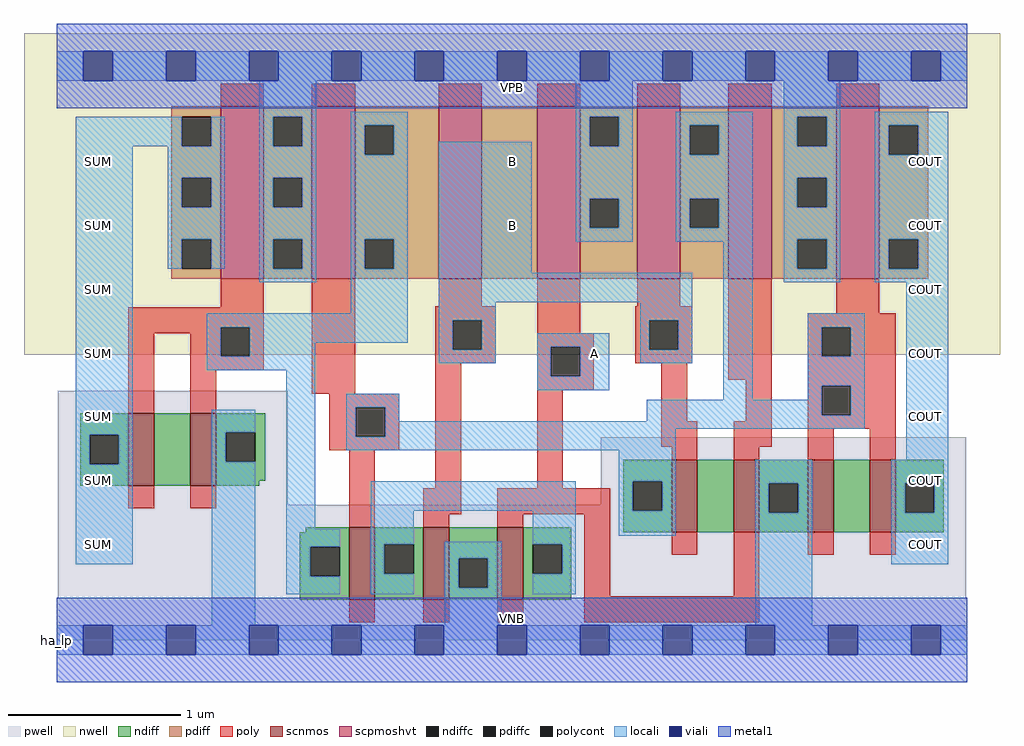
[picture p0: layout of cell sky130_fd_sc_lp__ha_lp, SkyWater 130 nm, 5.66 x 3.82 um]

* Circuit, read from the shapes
.subckt sky130_fd_sc_lp__ha_lp A B VGND VNB VPB VPWR COUT SUM
XM1 n1 n2 SUM VNB sky130_fd_pr__nfet_01v8 w=0.42 l=0.15
XM2 VGND n2 n1 VNB sky130_fd_pr__nfet_01v8 w=0.42 l=0.15
XM3 n3 n4 n2 VNB sky130_fd_pr__nfet_01v8 w=0.42 l=0.15
XM4 VGND B n3 VNB sky130_fd_pr__nfet_01v8 w=0.42 l=0.15
XM5 n3 A VGND VNB sky130_fd_pr__nfet_01v8 w=0.42 l=0.15
XM6 n5 B n4 VNB sky130_fd_pr__nfet_01v8 w=0.42 l=0.15
XM7 VGND A n5 VNB sky130_fd_pr__nfet_01v8 w=0.42 l=0.15
XM8 n6 n4 VGND VNB sky130_fd_pr__nfet_01v8 w=0.42 l=0.15
XM9 COUT n4 n6 VNB sky130_fd_pr__nfet_01v8 w=0.42 l=0.15
XM10 VPWR n2 SUM VPB sky130_fd_pr__pfet_01v8_hvt w=1 l=0.25
XM11 n2 n4 VPWR VPB sky130_fd_pr__pfet_01v8_hvt w=1 l=0.25
XM12 n7 B n2 VPB sky130_fd_pr__pfet_01v8_hvt w=1 l=0.25
XM13 VPWR A n7 VPB sky130_fd_pr__pfet_01v8_hvt w=1 l=0.25
XM14 n4 B VPWR VPB sky130_fd_pr__pfet_01v8_hvt w=1 l=0.25
XM15 VPWR A n4 VPB sky130_fd_pr__pfet_01v8_hvt w=1 l=0.25
XM16 COUT n4 VPWR VPB sky130_fd_pr__pfet_01v8_hvt w=1 l=0.25
.ends

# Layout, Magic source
magic
tech sky130A
magscale 1 2
<< nwell >>
rect -38 331 1094 704
<< pwell >>
rect 1 157 268 289
rect 631 157 1055 235
rect 1 49 1055 157
rect 0 0 1056 49
<< scnmos >>
rect 83 179 113 263
rect 155 179 185 263
rect 339 47 369 131
rect 425 47 455 131
rect 511 47 541 131
rect 713 125 743 209
rect 785 125 815 209
rect 871 125 901 209
rect 943 125 973 209
<< scpmoshvt >>
rect 190 419 240 619
rect 296 419 346 619
rect 443 419 493 619
rect 557 419 607 619
rect 673 419 723 619
rect 779 419 829 619
rect 904 419 954 619
<< ndiff >>
rect 27 238 83 263
rect 27 204 38 238
rect 72 204 83 238
rect 27 179 83 204
rect 113 179 155 263
rect 185 241 242 263
rect 185 207 196 241
rect 230 207 242 241
rect 185 185 242 207
rect 185 179 235 185
rect 657 184 713 209
rect 289 125 339 131
rect 282 108 339 125
rect 282 74 294 108
rect 328 74 339 108
rect 282 47 339 74
rect 369 111 425 131
rect 369 77 380 111
rect 414 77 425 111
rect 369 47 425 77
rect 455 95 511 131
rect 455 61 466 95
rect 500 61 511 95
rect 455 47 511 61
rect 541 111 597 131
rect 541 77 552 111
rect 586 77 597 111
rect 541 47 597 77
rect 657 150 668 184
rect 702 150 713 184
rect 657 125 713 150
rect 743 125 785 209
rect 815 182 871 209
rect 815 148 826 182
rect 860 148 871 182
rect 815 125 871 148
rect 901 125 943 209
rect 973 182 1029 209
rect 973 148 984 182
rect 1018 148 1029 182
rect 973 125 1029 148
<< pdiff >>
rect 133 607 190 619
rect 133 573 145 607
rect 179 573 190 607
rect 133 536 190 573
rect 133 502 145 536
rect 179 502 190 536
rect 133 465 190 502
rect 133 431 145 465
rect 179 431 190 465
rect 133 419 190 431
rect 240 607 296 619
rect 240 573 251 607
rect 285 573 296 607
rect 240 536 296 573
rect 240 502 251 536
rect 285 502 296 536
rect 240 465 296 502
rect 240 431 251 465
rect 285 431 296 465
rect 240 419 296 431
rect 346 597 443 619
rect 346 563 357 597
rect 391 563 443 597
rect 346 465 443 563
rect 346 431 357 465
rect 391 431 443 465
rect 346 419 443 431
rect 493 419 557 619
rect 607 607 673 619
rect 607 573 618 607
rect 652 573 673 607
rect 607 512 673 573
rect 607 478 618 512
rect 652 478 673 512
rect 607 419 673 478
rect 723 597 779 619
rect 723 563 734 597
rect 768 563 779 597
rect 723 512 779 563
rect 723 478 734 512
rect 768 478 779 512
rect 723 419 779 478
rect 829 607 904 619
rect 829 573 859 607
rect 893 573 904 607
rect 829 536 904 573
rect 829 502 859 536
rect 893 502 904 536
rect 829 465 904 502
rect 829 431 859 465
rect 893 431 904 465
rect 829 419 904 431
rect 954 597 1011 619
rect 954 563 965 597
rect 999 563 1011 597
rect 954 465 1011 563
rect 954 431 965 465
rect 999 431 1011 465
rect 954 419 1011 431
<< ndiffc >>
rect 38 204 72 238
rect 196 207 230 241
rect 294 74 328 108
rect 380 77 414 111
rect 466 61 500 95
rect 552 77 586 111
rect 668 150 702 184
rect 826 148 860 182
rect 984 148 1018 182
<< pdiffc >>
rect 145 573 179 607
rect 145 502 179 536
rect 145 431 179 465
rect 251 573 285 607
rect 251 502 285 536
rect 251 431 285 465
rect 357 563 391 597
rect 357 431 391 465
rect 618 573 652 607
rect 618 478 652 512
rect 734 563 768 597
rect 734 478 768 512
rect 859 573 893 607
rect 859 502 893 536
rect 859 431 893 465
rect 965 563 999 597
rect 965 431 999 465
<< poly >>
rect 190 619 240 645
rect 296 619 346 645
rect 443 619 493 645
rect 557 619 607 645
rect 673 619 723 645
rect 779 619 829 645
rect 904 619 954 645
rect 190 386 240 419
rect 83 363 240 386
rect 83 356 190 363
rect 83 263 113 356
rect 155 329 190 356
rect 224 329 240 363
rect 155 313 240 329
rect 155 263 185 313
rect 296 286 346 419
rect 443 387 493 419
rect 439 371 509 387
rect 439 337 459 371
rect 493 337 509 371
rect 439 321 509 337
rect 557 356 607 419
rect 673 387 723 419
rect 671 371 737 387
rect 557 340 623 356
rect 316 270 397 286
rect 316 236 347 270
rect 381 236 397 270
rect 316 220 397 236
rect 83 153 113 179
rect 155 153 185 179
rect 339 131 369 220
rect 439 176 469 321
rect 557 306 573 340
rect 607 306 623 340
rect 671 337 687 371
rect 721 337 737 371
rect 671 321 737 337
rect 557 290 623 306
rect 557 176 587 290
rect 701 254 731 321
rect 779 302 829 419
rect 904 379 954 419
rect 799 254 829 302
rect 701 224 743 254
rect 713 209 743 224
rect 785 224 829 254
rect 871 363 973 379
rect 871 329 887 363
rect 921 329 973 363
rect 871 295 973 329
rect 871 261 887 295
rect 921 261 973 295
rect 871 245 973 261
rect 785 209 815 224
rect 871 209 901 245
rect 943 209 973 245
rect 425 146 469 176
rect 511 146 642 176
rect 425 131 455 146
rect 511 131 541 146
rect 612 51 642 146
rect 713 99 743 125
rect 785 51 815 125
rect 871 99 901 125
rect 943 99 973 125
rect 339 21 369 47
rect 425 21 455 47
rect 511 21 541 47
rect 612 21 815 51
<< polycont >>
rect 190 329 224 363
rect 459 337 493 371
rect 347 236 381 270
rect 573 306 607 340
rect 687 337 721 371
rect 887 329 921 363
rect 887 261 921 295
<< locali >>
rect 0 649 31 683
rect 65 649 127 683
rect 161 649 223 683
rect 257 649 319 683
rect 353 649 415 683
rect 449 649 511 683
rect 545 649 607 683
rect 641 649 703 683
rect 737 649 799 683
rect 833 649 895 683
rect 929 649 991 683
rect 1025 649 1056 683
rect 235 607 301 649
rect 22 573 145 607
rect 179 573 195 607
rect 22 238 88 573
rect 129 536 195 573
rect 129 502 145 536
rect 179 502 195 536
rect 129 465 195 502
rect 129 431 145 465
rect 179 431 195 465
rect 235 573 251 607
rect 285 573 301 607
rect 235 536 301 573
rect 235 502 251 536
rect 285 502 301 536
rect 235 465 301 502
rect 235 431 251 465
rect 285 431 301 465
rect 235 415 301 431
rect 341 597 407 613
rect 341 563 357 597
rect 391 563 407 597
rect 602 607 668 649
rect 341 465 407 563
rect 341 431 357 465
rect 391 431 407 465
rect 341 379 407 431
rect 174 363 407 379
rect 174 329 190 363
rect 224 345 407 363
rect 443 426 551 578
rect 602 573 618 607
rect 652 573 668 607
rect 602 512 668 573
rect 602 478 618 512
rect 652 478 668 512
rect 602 462 668 478
rect 718 597 807 613
rect 718 563 734 597
rect 768 563 807 597
rect 718 512 807 563
rect 718 478 734 512
rect 768 478 807 512
rect 718 462 807 478
rect 443 392 737 426
rect 443 371 509 392
rect 224 329 300 345
rect 174 313 300 329
rect 443 337 459 371
rect 493 337 509 371
rect 677 371 737 392
rect 443 321 509 337
rect 557 340 641 356
rect 22 204 38 238
rect 72 204 88 238
rect 22 88 88 204
rect 180 241 230 267
rect 180 207 196 241
rect 180 17 230 207
rect 266 129 300 313
rect 557 306 573 340
rect 607 306 641 340
rect 677 337 687 371
rect 721 337 737 371
rect 677 321 737 337
rect 557 290 641 306
rect 336 270 397 286
rect 773 279 807 462
rect 843 607 909 649
rect 843 573 859 607
rect 893 573 909 607
rect 843 536 909 573
rect 843 502 859 536
rect 893 502 909 536
rect 843 465 909 502
rect 843 431 859 465
rect 893 431 909 465
rect 843 415 909 431
rect 949 597 1034 613
rect 949 563 965 597
rect 999 563 1034 597
rect 949 465 1034 563
rect 949 431 965 465
rect 999 431 1034 465
rect 949 415 1034 431
rect 871 363 937 379
rect 871 329 887 363
rect 921 329 937 363
rect 871 295 937 329
rect 871 279 887 295
rect 336 236 347 270
rect 381 254 397 270
rect 684 261 887 279
rect 921 261 937 295
rect 684 254 937 261
rect 381 245 937 254
rect 381 236 718 245
rect 336 220 718 236
rect 652 184 718 220
rect 985 209 1034 415
rect 364 150 602 184
rect 266 108 328 129
rect 266 74 294 108
rect 266 53 328 74
rect 364 111 414 150
rect 364 77 380 111
rect 364 53 414 77
rect 450 95 516 114
rect 450 61 466 95
rect 500 61 516 95
rect 450 17 516 61
rect 552 111 602 150
rect 652 150 668 184
rect 702 150 718 184
rect 652 121 718 150
rect 810 182 876 209
rect 810 148 826 182
rect 860 148 876 182
rect 586 77 602 111
rect 552 53 602 77
rect 810 17 876 148
rect 968 182 1034 209
rect 968 148 984 182
rect 1018 148 1034 182
rect 968 88 1034 148
rect 0 -17 31 17
rect 65 -17 127 17
rect 161 -17 223 17
rect 257 -17 319 17
rect 353 -17 415 17
rect 449 -17 511 17
rect 545 -17 607 17
rect 641 -17 703 17
rect 737 -17 799 17
rect 833 -17 895 17
rect 929 -17 991 17
rect 1025 -17 1056 17
<< viali >>
rect 31 649 65 683
rect 127 649 161 683
rect 223 649 257 683
rect 319 649 353 683
rect 415 649 449 683
rect 511 649 545 683
rect 607 649 641 683
rect 703 649 737 683
rect 799 649 833 683
rect 895 649 929 683
rect 991 649 1025 683
rect 31 -17 65 17
rect 127 -17 161 17
rect 223 -17 257 17
rect 319 -17 353 17
rect 415 -17 449 17
rect 511 -17 545 17
rect 607 -17 641 17
rect 703 -17 737 17
rect 799 -17 833 17
rect 895 -17 929 17
rect 991 -17 1025 17
<< metal1 >>
rect 0 683 1056 715
rect 0 649 31 683
rect 65 649 127 683
rect 161 649 223 683
rect 257 649 319 683
rect 353 649 415 683
rect 449 649 511 683
rect 545 649 607 683
rect 641 649 703 683
rect 737 649 799 683
rect 833 649 895 683
rect 929 649 991 683
rect 1025 649 1056 683
rect 0 617 1056 649
rect 0 17 1056 49
rect 0 -17 31 17
rect 65 -17 127 17
rect 161 -17 223 17
rect 257 -17 319 17
rect 353 -17 415 17
rect 449 -17 511 17
rect 545 -17 607 17
rect 641 -17 703 17
rect 737 -17 799 17
rect 833 -17 895 17
rect 929 -17 991 17
rect 1025 -17 1056 17
rect 0 -49 1056 -17
<< labels >>
flabel pwell s 0 0 1056 49 0 FreeSans 200 0 0 0 VNB
port 4 nsew ground bidirectional
flabel nwell s 0 617 1056 666 0 FreeSans 200 0 0 0 VPB
port 5 nsew power bidirectional
rlabel comment s 0 0 0 0 4 ha_lp
flabel metal1 s 0 617 1056 666 0 FreeSans 340 0 0 0 VPWR
port 6 nsew power bidirectional
flabel metal1 s 0 0 1056 49 0 FreeSans 340 0 0 0 VGND
port 3 nsew ground bidirectional
flabel locali s 607 316 641 350 0 FreeSans 340 0 0 0 A
port 1 nsew signal input
flabel locali s 511 464 545 498 0 FreeSans 340 0 0 0 B
port 2 nsew signal input
flabel locali s 511 538 545 572 0 FreeSans 340 0 0 0 B
port 2 nsew signal input
flabel locali s 31 94 65 128 0 FreeSans 340 0 0 0 SUM
port 8 nsew signal output
flabel locali s 31 168 65 202 0 FreeSans 340 0 0 0 SUM
port 8 nsew signal output
flabel locali s 31 242 65 276 0 FreeSans 340 0 0 0 SUM
port 8 nsew signal output
flabel locali s 31 316 65 350 0 FreeSans 340 0 0 0 SUM
port 8 nsew signal output
flabel locali s 31 390 65 424 0 FreeSans 340 0 0 0 SUM
port 8 nsew signal output
flabel locali s 31 464 65 498 0 FreeSans 340 0 0 0 SUM
port 8 nsew signal output
flabel locali s 31 538 65 572 0 FreeSans 340 0 0 0 SUM
port 8 nsew signal output
flabel locali s 991 94 1025 128 0 FreeSans 340 0 0 0 COUT
port 7 nsew signal output
flabel locali s 991 168 1025 202 0 FreeSans 340 0 0 0 COUT
port 7 nsew signal output
flabel locali s 991 242 1025 276 0 FreeSans 340 0 0 0 COUT
port 7 nsew signal output
flabel locali s 991 316 1025 350 0 FreeSans 340 0 0 0 COUT
port 7 nsew signal output
flabel locali s 991 390 1025 424 0 FreeSans 340 0 0 0 COUT
port 7 nsew signal output
flabel locali s 991 464 1025 498 0 FreeSans 340 0 0 0 COUT
port 7 nsew signal output
flabel locali s 991 538 1025 572 0 FreeSans 340 0 0 0 COUT
port 7 nsew signal output
<< properties >>
string LEFsite unit
string LEFclass CORE
string FIXED_BBOX 0 0 1056 666
string GDS_FILE $PDKPATH/libs.ref/sky130_fd_sc_lp/gds/sky130_fd_sc_lp.gds
string LEFsymmetry X Y R90
string GDS_END 6704376
string GDS_START 6694866
<< end >>
